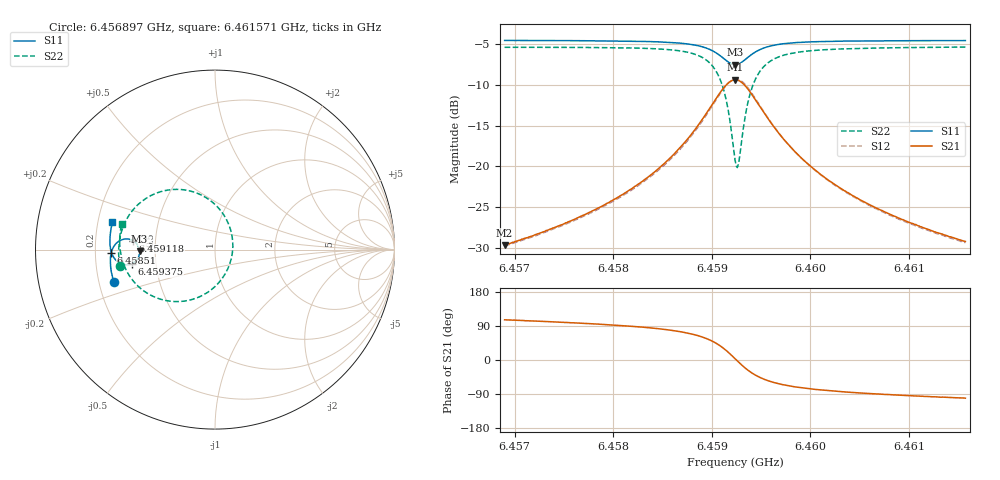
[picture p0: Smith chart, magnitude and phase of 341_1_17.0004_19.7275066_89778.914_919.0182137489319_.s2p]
#  HZ  S  RI  R  50.00
! Rohde & Schwarz Vector Network Analyzer
! Rohde-Schwarz,ZNB20-2Port,1311601062101988,3.16
! Created: UTC 3/20/2024, 11:07:19 PM
! freq[Hz]  re:S11  im:S11  re:S21  im:S21  re:S12  im:S12  re:S22  im:S22
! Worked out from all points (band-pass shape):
!   401 points, 6.456897 GHz to 6.461571 GHz, reference 50 ohm
!   highest |S21| = -9.38 dB at 6.459234 GHz (marker M1); lowest = -29.6 dB at 6.456897 GHz (marker M2)
!   |S21| within 3 dB of the highest: 6.459004 GHz to 6.459472 GHz (467.2 kHz wide, 0.00723 % of centre)
!   lowest |S11| = -7.5 dB at 6.459234 GHz (marker M3), VSWR 2.45, Z = 20.4 - j0.495 ohm
!   |S11| at or under -10 dB: nowhere
!   |S22| runs from -20.1 to -5.4 dB; largest |S21 - S12| = 0.013
!   S11 on the Smith chart (normalised r, x): 6.456897 GHz: 0.26, -0.14; 6.45851 GHz: 0.27, -0.02; 6.459118 GHz: 0.37, +0.05; 6.459375 GHz: 0.36, -0.07; 6.461571 GHz: 0.26, +0.12
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6.4568974e9  -0.5647 -0.1783  -0.00911 0.0316  -0.00736 0.0316  -0.5299 -0.091
6.4576803e9  -0.5797 -0.1104  -0.00599 0.0494  -0.00342 0.0488  -0.5366 -0.00119
6.4581243e9  -0.5831 -0.0661  -7.64e-05 0.069  0.00312 0.0677  -0.529 0.068
6.4584632e9  -0.5798 -0.0261  0.0129 0.0967  0.0168 0.094  -0.5055 0.1427
6.4585099e9  -0.5784 -0.0196  0.0162 0.102  0.0202 0.099  -0.4995 0.1557
6.4587319e9  -0.5656 0.0142  0.0434 0.1353  0.0476 0.1304  -0.4487 0.2307
6.4588839e9  -0.5439 0.0406  0.087 0.1655  0.0901 0.1589  -0.3691 0.2945
6.4590241e9  -0.5015 0.0591  0.1712 0.1832  0.1719 0.1759  -0.2163 0.3355
6.4591176e9  -0.4576 0.0504  0.2592 0.1554  0.259 0.1496  -0.0544 0.2921
6.4591643e9  -0.4363 0.0328  0.3031 0.1152  0.3038 0.1103  0.0283 0.2215
6.4592344e9  -0.4201 -0.00999  0.339 0.0212  0.3423 0.0152  0.0984 0.0489
6.4592578e9  -0.4213 -0.0258  0.3382 -0.0137  0.3419 -0.021  0.0969 -0.0166
6.4592695e9  -0.4231 -0.0335  0.3352 -0.0307  0.3389 -0.0387  0.0913 -0.0487
6.4593279e9  -0.4426 -0.0651  0.2997 -0.1033  0.3015 -0.1148  0.0202 -0.1852
6.4593746e9  -0.4648 -0.0795  0.2573 -0.1405  0.2563 -0.1531  -0.0646 -0.2524
6.4594681e9  -0.5069 -0.0838  0.1754 -0.1671  0.1695 -0.1779  -0.2264 -0.2894
6.45962e9  -0.5486 -0.0625  0.0923 -0.1521  0.0841 -0.158  -0.3845 -0.2386
6.4597836e9  -0.5691 -0.0352  0.0497 -0.1249  0.0423 -0.1276  -0.4606 -0.1686
6.4600173e9  -0.581 -0.00126  0.0224 -0.0958  0.0168 -0.0963  -0.5051 -0.0918
6.4604029e9  -0.5857 0.0438  0.00564 -0.0675  0.00165 -0.0669  -0.5276 -0.00694
6.4608002e9  -0.5838 0.0832  -0.0012 -0.051  -0.004 -0.0502  -0.5309 0.0547
6.4615714e9  -0.5714 0.1513  -0.00648 -0.034  -0.00807 -0.0331  -0.5195 0.1446
